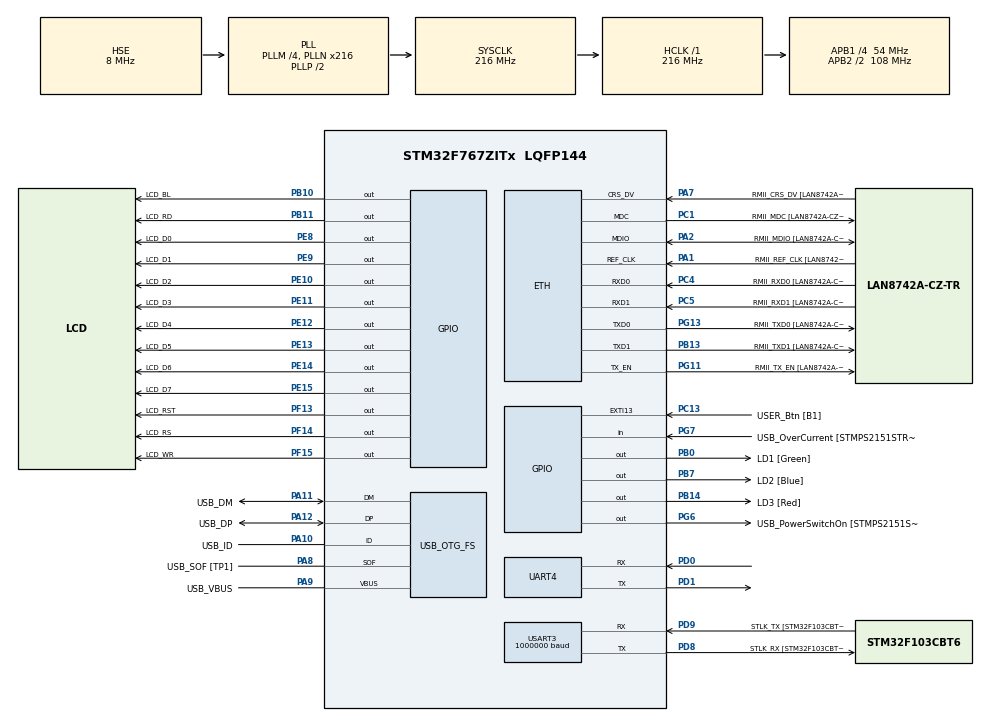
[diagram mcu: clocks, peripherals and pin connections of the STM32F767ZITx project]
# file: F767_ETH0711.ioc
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Dma.Request0=USART3_RX
Dma.USART3_RX.0.Direction=DMA_PERIPH_TO_MEMORY
Dma.USART3_RX.0.FIFOMode=DMA_FIFOMODE_DISABLE
Dma.USART3_RX.0.Instance=DMA1_Stream1
Dma.USART3_RX.0.MemDataAlignment=DMA_MDATAALIGN_BYTE
Dma.USART3_RX.0.MemInc=DMA_MINC_ENABLE
Dma.USART3_RX.0.Mode=DMA_NORMAL
Dma.USART3_RX.0.PeriphDataAlignment=DMA_PDATAALIGN_BYTE
Dma.USART3_RX.0.PeriphInc=DMA_PINC_DISABLE
Dma.USART3_RX.0.Priority=DMA_PRIORITY_LOW
ETH.MediaInterface=ETH_MEDIA_INTERFACE_RMII
ETH.PHY_Name=LAN8742A_PHY_ADDRESS
ETH.PHY_Value=0
ETH.PhyAddress=0
FREERTOS.INCLUDE_pcTaskGetTaskName=1
FREERTOS.INCLUDE_uxTaskGetStackHighWaterMark2=1
FREERTOS.INCLUDE_vTaskCleanUpResources=1
FREERTOS.INCLUDE_xEventGroupSetBitFromISR=1
FREERTOS.INCLUDE_xSemaphoreGetMutexHolder=1
FREERTOS.INCLUDE_xTaskAbortDelay=1
FREERTOS.INCLUDE_xTaskGetCurrentTaskHandle=1
FREERTOS.INCLUDE_xTaskGetHandle=1
FREERTOS.Tasks01=defaultTask,24,256,StartDefaultTask,Default,NULL,Dynamic,NULL,NULL
FREERTOS.configMINIMAL_STACK_SIZE=256
FREERTOS.configUSE_NEWLIB_REENTRANT=0
LWIP.ETHARP_DEBUG=LWIP_DBG_ON
LWIP.IP_FORWARD=0
LWIP.LWIP_COMPAT_SOCKETS=2
LWIP.LWIP_DNS=1
LWIP.LWIP_IPV6=0
LWIP.LWIP_NETIF_EXT_STATUS_CALLBACK=1
LWIP.LWIP_NETIF_LINK_CALLBACK=1
LWIP.LWIP_NETIF_LOOPBACK=1
LWIP.LWIP_NETIF_STATUS_CALLBACK=1
LWIP.LWIP_TCP_SACK_OUT=1
LWIP.NETIF_DEBUG=LWIP_DBG_ON
LWIP.SOCKETS_DEBUG=LWIP_DBG_ON
LWIP.TCP_DEBUG=LWIP_DBG_ON
LWIP.Version=v2.1.2_Cube
Mcu.Family=STM32F7
Mcu.Name=STM32F767ZITx
Mcu.Package=LQFP144
NVIC.DMA1_Stream1_IRQn=true\:5\:0\:false\:false\:true\:true\:false\:true
NVIC.ETH_IRQn=true\:5\:0\:false\:false\:true\:true\:false\:true
NVIC.PriorityGroup=NVIC_PRIORITYGROUP_4
NVIC.UART4_IRQn=true\:5\:0\:false\:false\:true\:true\:true\:true
NVIC.USART3_IRQn=true\:5\:0\:false\:false\:true\:true\:true\:true
PA1.GPIO_Label=RMII_REF_CLK [LAN8742A-CZ-TR_REFCLK0]
PA1.Mode=RMII
PA1.Signal=ETH_REF_CLK
PA10.GPIO_Label=USB_ID
PA10.Mode=OTG/Dual_Role_Device
PA10.Signal=USB_OTG_FS_ID
PA11.GPIO_Label=USB_DM
PA11.Mode=OTG/Dual_Role_Device
PA11.Signal=USB_OTG_FS_DM
PA12.GPIO_Label=USB_DP
PA12.Mode=OTG/Dual_Role_Device
PA12.Signal=USB_OTG_FS_DP
PA13.GPIO_Label=TMS
PA13.Mode=Serial_Wire
PA13.Signal=SYS_JTMS-SWDIO
PA14.GPIO_Label=TCK
PA14.Mode=Serial_Wire
PA14.Signal=SYS_JTCK-SWCLK
PA2.GPIO_Label=RMII_MDIO [LAN8742A-CZ-TR_MDIO]
PA2.Mode=RMII
PA2.Signal=ETH_MDIO
PA7.GPIO_Label=RMII_CRS_DV [LAN8742A-CZ-TR_CRS_DV]
PA7.Mode=RMII
PA7.Signal=ETH_CRS_DV
PA8.GPIO_Label=USB_SOF [TP1]
PA8.Mode=Activate_SOF_FS
PA8.Signal=USB_OTG_FS_SOF
PA9.GPIO_Label=USB_VBUS
PA9.Mode=Activate_VBUS
PA9.Signal=USB_OTG_FS_VBUS
PB0.GPIO_Label=LD1 [Green]
PB0.Signal=GPIO_Output
PB10.GPIO_Label=LCD_BL
PB10.Signal=GPIO_Output
PB11.GPIO_Label=LCD_RD
PB11.Signal=GPIO_Output
PB13.GPIO_Label=RMII_TXD1 [LAN8742A-CZ-TR_TXD1]
PB13.Mode=RMII
PB13.Signal=ETH_TXD1
PB14.GPIO_Label=LD3 [Red]
PB14.Signal=GPIO_Output
PB3.GPIO_Label=SWO
PB3.Signal=SYS_JTDO-SWO
PB7.GPIO_Label=LD2 [Blue]
PB7.Signal=GPIO_Output
PC1.GPIO_Label=RMII_MDC [LAN8742A-CZ-TR_MDC]
PC1.Mode=RMII
PC1.Signal=ETH_MDC
PC13.GPIO_Label=USER_Btn [B1]
PC13.Signal=GPXTI13
PC14/OSC32_IN.Mode=LSE-External-Oscillator
PC14/OSC32_IN.Signal=RCC_OSC32_IN
PC15/OSC32_OUT.Mode=LSE-External-Oscillator
PC15/OSC32_OUT.Signal=RCC_OSC32_OUT
PC4.GPIO_Label=RMII_RXD0 [LAN8742A-CZ-TR_RXD0]
PC4.Mode=RMII
PC4.Signal=ETH_RXD0
PC5.GPIO_Label=RMII_RXD1 [LAN8742A-CZ-TR_RXD1]
PC5.Mode=RMII
PC5.Signal=ETH_RXD1
PD0.Mode=Asynchronous
PD0.Signal=UART4_RX
PD1.Mode=Asynchronous
PD1.Signal=UART4_TX
PD8.GPIO_Label=STLK_RX [STM32F103CBT6_PA3]
PD8.Mode=Asynchronous
PD8.Signal=USART3_TX
PD9.GPIO_Label=STLK_TX [STM32F103CBT6_PA2]
PD9.Mode=Asynchronous
PD9.Signal=USART3_RX
PE10.GPIO_Label=LCD_D2
PE10.Signal=GPIO_Output
PE11.GPIO_Label=LCD_D3
PE11.Signal=GPIO_Output
PE12.GPIO_Label=LCD_D4
PE12.Signal=GPIO_Output
PE13.GPIO_Label=LCD_D5
PE13.Signal=GPIO_Output
PE14.GPIO_Label=LCD_D6
PE14.Signal=GPIO_Output
PE15.GPIO_Label=LCD_D7
PE15.Signal=GPIO_Output
PE8.GPIO_Label=LCD_D0
PE8.Signal=GPIO_Output
PE9.GPIO_Label=LCD_D1
PE9.Signal=GPIO_Output
PF13.GPIO_Label=LCD_RST
PF13.Signal=GPIO_Output
PF14.GPIO_Label=LCD_RS
PF14.Signal=GPIO_Output
PF15.GPIO_Label=LCD_WR
PF15.Signal=GPIO_Output
PG11.GPIO_Label=RMII_TX_EN [LAN8742A-CZ-TR_TXEN]
PG11.Mode=RMII
PG11.Signal=ETH_TX_EN
PG13.GPIO_Label=RMII_TXD0 [LAN8742A-CZ-TR_TXD0]
PG13.Mode=RMII
PG13.Signal=ETH_TXD0
PG6.GPIO_Label=USB_PowerSwitchOn [STMPS2151STR_EN]
PG6.Signal=GPIO_Output
PG7.GPIO_Label=USB_OverCurrent [STMPS2151STR_FAULT]
PG7.Signal=GPIO_Input
PH0/OSC_IN.GPIO_Label=MCO [STM32F103CBT6_PA8]
PH0/OSC_IN.Mode=HSE-External-Clock-Source
PH0/OSC_IN.Signal=RCC_OSC_IN
PH1/OSC_OUT.Mode=HSE-External-Clock-Source
PH1/OSC_OUT.Signal=RCC_OSC_OUT
ProjectManager.HeapSize=0x1000
ProjectManager.StackSize=0x1000
ProjectManager.TargetToolchain=MDK-ARM V5.27
RCC.48MHZClocksFreq_Value=24000000
RCC.AHBFreq_Value=216000000
RCC.APB1CLKDivider=RCC_HCLK_DIV4
RCC.APB1Freq_Value=54000000
RCC.APB1TimFreq_Value=108000000
RCC.APB2CLKDivider=RCC_HCLK_DIV2
RCC.APB2Freq_Value=108000000
RCC.APB2TimFreq_Value=216000000
RCC.CortexFreq_Value=216000000
RCC.HCLKFreq_Value=216000000
RCC.HSE_VALUE=8000000
RCC.HSI_VALUE=16000000
RCC.PLLM=4
RCC.PLLMUL=RCC_PLL_MUL9
RCC.PLLN=216
RCC.PLLQ=9
RCC.PRESCALERUSB=RCC_USBCLKSOURCE_PLL_DIV1_5
RCC.SYSCLKFreq_VALUE=216000000
RCC.SYSCLKSource=RCC_SYSCLKSOURCE_PLLCLK
RCC.SYSCLKSourceVirtual=RCC_SYSCLKSOURCE_PLLCLK
RCC.USBFreq_Value=48000000
RCC.VCOOutputFreq_Value=432000000
USART3.BaudRate=1000000
USART3.VirtualMode-Asynchronous=VM_ASYNC
VP_FREERTOS_VS_CMSIS_V2.Mode=CMSIS_V2
VP_LWIP_VS_Enabled.Mode=Enabled
board=NUCLEO-F767ZI

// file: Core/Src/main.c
/* USER CODE BEGIN Header */
/**
  ******************************************************************************
  * @file           : main.c
  * @brief          : Main program body
  ******************************************************************************
  * @attention
  *
  * <h2><center>&copy; Copyright (c) 2020 STMicroelectronics.
  * All rights reserved.</center></h2>
  *
  * This software component is licensed by ST under Ultimate Liberty license
  * SLA0044, the "License"; You may not use this file except in compliance with
  * the License. You may obtain a copy of the License at:
  *                             www.st.com/SLA0044
  *
  ******************************************************************************
  */
/* USER CODE END Header */
#include "main.h"
#include "cmsis_os.h"
#include "dma.h"
#include "lwip.h"
#include "usart.h"
#include "usb_otg.h"
#include "gpio.h"

/* USER CODE BEGIN Includes */
#include "tcp_client.h"
#include "printf.h"
#include "kfifo.h"
/* USER CODE END Includes */

void SystemClock_Config(void);
void MX_FREERTOS_Init(void);

int main(void)
{

  /* MCU Configuration--------------------------------------------------------*/

  /* Reset of all peripherals, Initializes the Flash interface and the Systick. */
  HAL_Init();

  /* Configure the system clock */
  SystemClock_Config();

  /* Initialize all configured peripherals */
  MX_GPIO_Init();
  MX_DMA_Init();
  MX_USART3_UART_Init();
  MX_USB_OTG_FS_USB_Init();
  MX_UART4_Init();
  /* USER CODE BEGIN 2 */

    my_fifo_init(&gFifoRx, gTcpReg.rx_buff, TCP_BUFF_MAX);
    my_fifo_init(&gFifoTx, gTcpReg.tx_buff, TCP_BUFF_MAX);

    HAL_UART_Receive_DMA(&huart3, gTcpReg.dma_buff, UART_DMA_BUFF_MAX);
    __HAL_UART_ENABLE_IT(&huart3, UART_IT_IDLE);

  /* USER CODE END 2 */

  /* Init scheduler */
  osKernelInitialize();  /* Call init function for freertos objects (in freertos.c) */
  MX_FREERTOS_Init();
  /* Start scheduler */
  osKernelStart();

  /* We should never get here as control is now taken by the scheduler */
  /* Infinite loop */
    while (1)
    {

    }
}

void SystemClock_Config(void)
{
  RCC_OscInitTypeDef RCC_OscInitStruct = {0};
  RCC_ClkInitTypeDef RCC_ClkInitStruct = {0};
  RCC_PeriphCLKInitTypeDef PeriphClkInitStruct = {0};

  /** Configure LSE Drive Capability
  */
  HAL_PWR_EnableBkUpAccess();
  /** Configure the main internal regulator output voltage
  */
  __HAL_RCC_PWR_CLK_ENABLE();
  __HAL_PWR_VOLTAGESCALING_CONFIG(PWR_REGULATOR_VOLTAGE_SCALE1);
  /** Initializes the RCC Oscillators according to the specified parameters
  * in the RCC_OscInitTypeDef structure.
  */
  RCC_OscInitStruct.OscillatorType = RCC_OSCILLATORTYPE_HSE;
  RCC_OscInitStruct.HSEState = RCC_HSE_BYPASS;
  RCC_OscInitStruct.PLL.PLLState = RCC_PLL_ON;
  RCC_OscInitStruct.PLL.PLLSource = RCC_PLLSOURCE_HSE;
  RCC_OscInitStruct.PLL.PLLM = 4;
  RCC_OscInitStruct.PLL.PLLN = 216;
  RCC_OscInitStruct.PLL.PLLP = RCC_PLLP_DIV2;
  RCC_OscInitStruct.PLL.PLLQ = 9;
  if (HAL_RCC_OscConfig(&RCC_OscInitStruct) != HAL_OK)
  {
    Error_Handler();
  }
  /** Activate the Over-Drive mode
  */
  if (HAL_PWREx_EnableOverDrive() != HAL_OK)
  {
    Error_Handler();
  }
  /** Initializes the CPU, AHB and APB buses clocks
  */
  RCC_ClkInitStruct.ClockType = RCC_CLOCKTYPE_HCLK|RCC_CLOCKTYPE_SYSCLK
                              |RCC_CLOCKTYPE_PCLK1|RCC_CLOCKTYPE_PCLK2;
  RCC_ClkInitStruct.SYSCLKSource = RCC_SYSCLKSOURCE_PLLCLK;
  RCC_ClkInitStruct.AHBCLKDivider = RCC_SYSCLK_DIV1;
  RCC_ClkInitStruct.APB1CLKDivider = RCC_HCLK_DIV4;
  RCC_ClkInitStruct.APB2CLKDivider = RCC_HCLK_DIV2;

  if (HAL_RCC_ClockConfig(&RCC_ClkInitStruct, FLASH_LATENCY_7) != HAL_OK)
  {
    Error_Handler();
  }
  PeriphClkInitStruct.PeriphClockSelection = RCC_PERIPHCLK_USART3|RCC_PERIPHCLK_UART4
                              |RCC_PERIPHCLK_CLK48;
  PeriphClkInitStruct.Usart3ClockSelection = RCC_USART3CLKSOURCE_PCLK1;
  PeriphClkInitStruct.Uart4ClockSelection = RCC_UART4CLKSOURCE_PCLK1;
  PeriphClkInitStruct.Clk48ClockSelection = RCC_CLK48SOURCE_PLL;
  if (HAL_RCCEx_PeriphCLKConfig(&PeriphClkInitStruct) != HAL_OK)
  {
    Error_Handler();
  }
}

void Error_Handler(void)
{
}

/************************ (C) COPYRIGHT STMicroelectronics *****END OF FILE****/

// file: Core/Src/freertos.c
/* USER CODE BEGIN Header */
/**
  ******************************************************************************
  * File Name          : freertos.c
  * Description        : Code for freertos applications
  ******************************************************************************
  * @attention
  *
  * <h2><center>&copy; Copyright (c) 2020 STMicroelectronics.
  * All rights reserved.</center></h2>
  *
  * This software component is licensed by ST under Ultimate Liberty license
  * SLA0044, the "License"; You may not use this file except in compliance with
  * the License. You may obtain a copy of the License at:
  *                             www.st.com/SLA0044
  *
  ******************************************************************************
  */
/* USER CODE END Header */

#include "FreeRTOS.h"
#include "task.h"
#include "main.h"
#include "cmsis_os.h"

/* USER CODE BEGIN Includes */
#include "printf.h"
#include "tcp_client.h"
#include "mqttclient.h"

#include "semphr.h"
#include "queue.h"

#include "tftlcd.h"
#include "lcd_print.h"
#include "pic.h"

#include "iot_interface.h"
#include "protocol.h"
#include "mcu_if.h"
#include "spec_opcode.h"

/* USER CODE END Includes */

/* USER CODE BEGIN PM */

#include "queue.h"
QueueHandle_t MQTT_Data_Queue = NULL;

/* USER CODE END PM */

/* Definitions for defaultTask */
osThreadId_t defaultTaskHandle;
const osThreadAttr_t defaultTask_attributes = {
  .name = "defaultTask",
  .priority = (osPriority_t) osPriorityNormal,
  .stack_size = 256 * 4
};

/* USER CODE BEGIN FunctionPrototypes */
//task_led
osThreadId_t task_led_handle;
const osThreadAttr_t task_led_attributes = {
    .name = "task_led",
    .priority = (osPriority_t) osPriorityHigh,
    .stack_size = 256 * 4
};
void task_led_entry(void *argument);

//task_test_c
osThreadId_t task_test_c_handle;
const osThreadAttr_t task_test_c_attributes = {
    .name = "task_test_c",
    .priority = (osPriority_t) osPriorityNormal,
    .stack_size = 256 * 4
};
void task_test_c_entry(void *argument);

//task_test_c
osThreadId_t lcd_dis_handle;
const osThreadAttr_t lcd_dis_attributes = {
    .name = "lcd_dis",
    .priority = (osPriority_t) osPriorityRealtime,
    .stack_size = 256 * 4
};
void lcd_dis_entry(void *argument);

osThreadId_t task_wifi_handle;
const osThreadAttr_t task_wifi_attributes = {
    .name = "task_wifi",
    .priority = (osPriority_t) osPriorityNormal,
    .stack_size = 256 * 10
};
void task_wifi_entry(void *argument);

/* USER CODE END FunctionPrototypes */

void StartDefaultTask(void *argument);

extern void MX_LWIP_Init(void);
void MX_FREERTOS_Init(void); /* (MISRA C 2004 rule 8.1) */

void MX_FREERTOS_Init(void) {

  /* USER CODE BEGIN RTOS_QUEUES */
    /* add queues, ... */
    /* ����Test_Queue */
    MQTT_Data_Queue = xQueueCreate(10, sizeof(DHT11_Data_TypeDef));
  /* USER CODE END RTOS_QUEUES */

  /* Create the thread(s) */
  /* creation of defaultTask */
  defaultTaskHandle = osThreadNew(StartDefaultTask, NULL, &defaultTask_attributes);

  /* USER CODE BEGIN RTOS_THREADS */
    /* add threads, ... */
    task_led_handle = osThreadNew(task_led_entry, NULL, &task_led_attributes);
	lcd_dis_handle = osThreadNew(lcd_dis_entry, NULL, &lcd_dis_attributes);
	task_test_c_handle = osThreadNew(task_test_c_entry, NULL, &task_test_c_attributes);
//	task_wifi_handle = osThreadNew(task_wifi_entry, NULL, &task_wifi_attributes);

  /* USER CODE END RTOS_THREADS */

}

void StartDefaultTask(void *argument)
{
  /* init code for LWIP */
  MX_LWIP_Init();
  /* USER CODE BEGIN StartDefaultTask */

//    mqtt_thread_init();
//    /* Infinite loop */
    for(;;)
    {
//        task_tcp_client();
        osDelay(10);
    }
  /* USER CODE END StartDefaultTask */
}

/* USER CODE BEGIN Application */
uint32_t task_led_cnt = 0;
char buff[200] = {0};
DHT11_Data_TypeDef test = {0};

void task_led_entry(void *argument)
{
    uint8_t led_flag = 1;

    TFTLCD_Init_ILI9225();

    while(1)
    {
        HAL_GPIO_WritePin(LD1_GPIO_Port, LD1_Pin, (GPIO_PinState)(led_flag & (1 << 0)));
        HAL_GPIO_WritePin(LD2_GPIO_Port, LD2_Pin, (GPIO_PinState)(led_flag & (1 << 1)));
        HAL_GPIO_WritePin(LD3_GPIO_Port, LD3_Pin, (GPIO_PinState)(led_flag & (1 << 2)));

        led_flag <<= 1;
        if(led_flag >= 0x10)
        {
            led_flag = 0x01;

			if(mqtt_connect_flag == 1)
			{
				test.humidity += 0.1;
				test.temperature += 0.1;
				int res = xQueueSend(MQTT_Data_Queue, &test, 1000);
				printf("send_res = %d\r\n", res);
			}
        }

        //��ӡ���ж�ջ
        //lcd_print("xPortGetFreeHeapSize = %d", xPortGetFreeHeapSize());
        //lcd_print("xPortGetMinimumEverFreeHeapSize = %d",xPortGetMinimumEverFreeHeapSize());

        osDelay(500);
    }
}

void test_c(void);

void task_test_c_entry(void *argument)
{
    uint32_t task_cnt = 0;

    while(1)
    {

		test_c();
        osDelay(2000);
    }
}

SemaphoreHandle_t lcd_sync;
void lcd_dis_entry(void *argument)
{
    uint32_t task_cnt = 0;
    lcd_sync = xSemaphoreCreateBinary();
    while(1)
    {
        xSemaphoreTake(lcd_sync, 50);
        LCD_ShowPicture(0, 0, 176, 220, lcd_disp[0][0]);
        xSemaphoreGive(lcd_sync);
        osDelay(50);
    }
}
/* USER CODE END Application */

/************************ (C) COPYRIGHT STMicroelectronics *****END OF FILE****/
